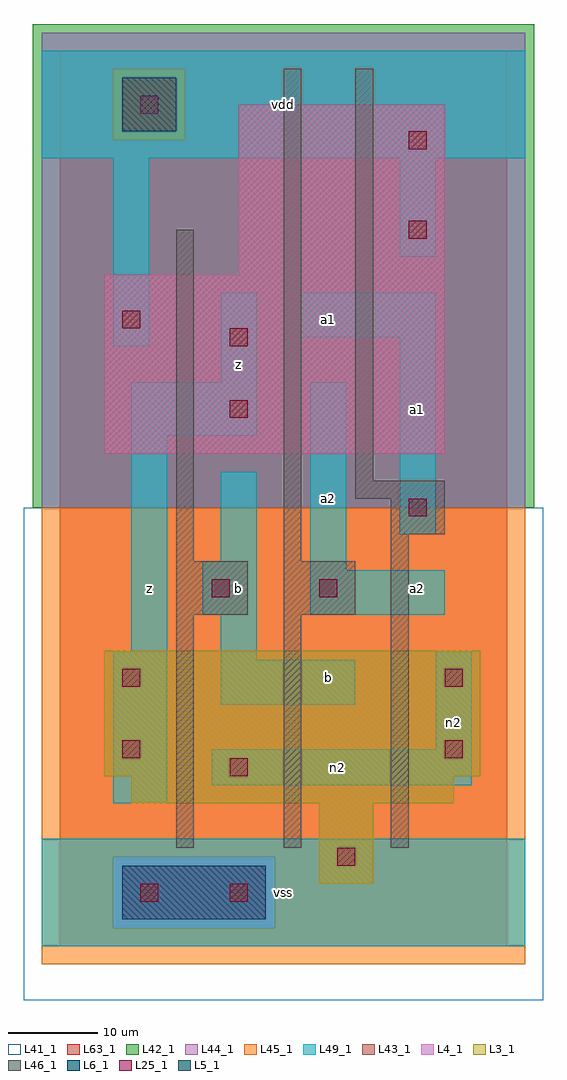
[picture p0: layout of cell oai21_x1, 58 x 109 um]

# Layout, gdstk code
import gdstk
lib = gdstk.Library(unit=1e-6, precision=1e-09)
def R(c, l, rs):  # rectangles x0, y0, x1, y1
    for r in rs: c.add(gdstk.rectangle(r[:2], r[2:], *l))
L3_1 = (3, 1)
L4_1 = (4, 1)
L5_1 = (5, 1)
L6_1 = (6, 1)
L25_1 = (25, 1)
L41_1 = (41, 1)
L42_1 = (42, 1)
L43_1 = (43, 1)
L44_1 = (44, 1)
L45_1 = (45, 1)
L46_1 = (46, 1)
L49_1 = (49, 1)
L63_1 = (63, 1)

oai21_x1 = lib.new_cell('oai21_x1')
R(oai21_x1, L3_1, [(29,7,35,16), (8,16,44,19), (5,19,47,33)])
R(oai21_x1, L4_1, [(5,55,43,75), (20,75,43,94)])
R(oai21_x1, L5_1, [(7,91,13,97)])
R(oai21_x1, L6_1, [(7,3,23,9)])
R(oai21_x1, L25_1, [(9,5,11,7), (19,5,21,7), (31,9,33,11), (19,19,21,21), (7,21,9,23), (43,21,45,23), (7,29,9,31), (43,29,45,31), (17,39,19,41), (29,39,31,41), (39,48,41,50), (19,59,21,61), (19,67,21,69), (7,69,9,71), (39,79,41,81), (39,89,41,91), (9,93,11,95)])
R(oai21_x1, L41_1, [(-4,-6,54,49), (-3,-3,53,49)])
R(oai21_x1, L42_1, [(-3,49,53,103)])
R(oai21_x1, L43_1, [(7,3,23,9), (29,7,35,16), (8,16,44,19), (5,19,47,33), (5,55,43,75), (20,75,43,94), (7,91,13,97)])
R(oai21_x1, L44_1, [(6,2,24,10), (-2,49,52,90), (-2,90,6,98), (14,90,52,98), (-2,98,52,102)])
R(oai21_x1, L45_1, [(-2,-2,52,2), (-2,2,6,10), (24,2,52,10), (-2,10,52,49), (6,90,14,98)])
R(oai21_x1, L46_1, [(13,11,15,37), (25,11,27,37), (37,11,39,46), (13,37,21,43), (25,37,33,43), (13,43,15,80), (25,43,27,98), (37,46,43,50), (33,50,43,52), (33,52,35,98)])
R(oai21_x1, L49_1, [(-2,0,52,12), (6,16,12,33), (17,18,46,22), (42,22,46,33), (18,27,33,32), (18,32,22,37), (8,33,12,57), (16,37,22,43), (28,37,43,42), (28,42,32,63), (18,43,22,53), (38,46,42,68), (8,57,22,63), (18,63,22,73), (6,67,10,88), (27,68,42,73), (38,77,42,88), (-2,88,52,100)])
R(oai21_x1, L63_1, [(0,0,50,100)])
oai21_x1.add(gdstk.Label('z', (10,40), layer=49, texttype=1))
oai21_x1.add(gdstk.Label('z', (10,40), layer=49, texttype=1))
oai21_x1.add(gdstk.Label('b', (20,40), layer=49, texttype=1))
oai21_x1.add(gdstk.Label('b', (20,40), layer=49, texttype=1))
oai21_x1.add(gdstk.Label('z', (20,65), layer=49, texttype=1))
oai21_x1.add(gdstk.Label('z', (20,65), layer=49, texttype=1))
oai21_x1.add(gdstk.Label('vss', (25,6), layer=49, texttype=1))
oai21_x1.add(gdstk.Label('vss', (25,6), layer=49, texttype=1))
oai21_x1.add(gdstk.Label('b', (30,30), layer=49, texttype=1))
oai21_x1.add(gdstk.Label('b', (30,30), layer=49, texttype=1))
oai21_x1.add(gdstk.Label('a2', (30,50), layer=49, texttype=1))
oai21_x1.add(gdstk.Label('a2', (30,50), layer=49, texttype=1))
oai21_x1.add(gdstk.Label('a1', (30,70), layer=49, texttype=1))
oai21_x1.add(gdstk.Label('a1', (30,70), layer=49, texttype=1))
oai21_x1.add(gdstk.Label('vdd', (25,94), layer=49, texttype=1))
oai21_x1.add(gdstk.Label('vdd', (25,94), layer=49, texttype=1))
oai21_x1.add(gdstk.Label('n2', (31,20), layer=49, texttype=1))
oai21_x1.add(gdstk.Label('n2', (44,25), layer=49, texttype=1))
oai21_x1.add(gdstk.Label('a2', (40,40), layer=49, texttype=1))
oai21_x1.add(gdstk.Label('a2', (40,40), layer=49, texttype=1))
oai21_x1.add(gdstk.Label('a1', (40,60), layer=49, texttype=1))
oai21_x1.add(gdstk.Label('a1', (40,60), layer=49, texttype=1))

lib.write_gds('oai21_x1.gds')
